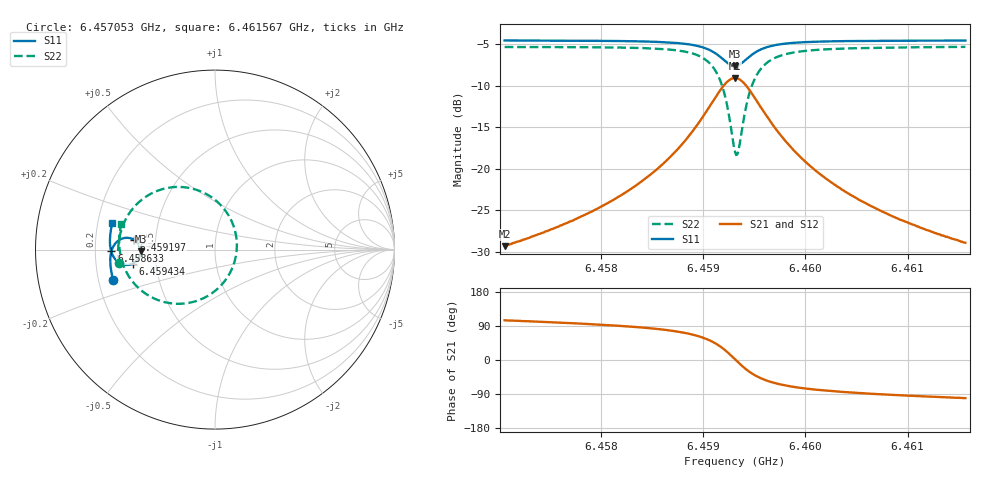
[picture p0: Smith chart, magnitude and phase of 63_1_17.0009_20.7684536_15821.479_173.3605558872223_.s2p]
#  HZ  S  RI  R  50.00
! Rohde & Schwarz Vector Network Analyzer
! Rohde-Schwarz,ZNB20-2Port,1311601062101988,3.16
! Created: UTC 3/20/2024, 10:54:53 PM
! freq[Hz]  re:S11  im:S11  re:S21  im:S21  re:S12  im:S12  re:S22  im:S22
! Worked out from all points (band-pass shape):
!   401 points, 6.457053 GHz to 6.461567 GHz, reference 50 ohm
!   highest |S21| = -9.08 dB at 6.45931 GHz (marker M1); lowest = -29.3 dB at 6.457053 GHz (marker M2)
!   |S21| within 3 dB of the highest: 6.459084 GHz to 6.459535 GHz (451.3 kHz wide, 0.00699 % of centre)
!   lowest |S11| = -7.6 dB at 6.45931 GHz (marker M3), VSWR 2.42, Z = 20.7 - j0.513 ohm
!   |S11| at or under -10 dB: nowhere
!   |S22| runs from -18.4 to -5.3 dB; largest |S21 - S12| = 0.014
!   S11 on the Smith chart (normalised r, x): 6.457053 GHz: 0.26, -0.14; 6.458633 GHz: 0.27, -0.01; 6.459197 GHz: 0.38, +0.05; 6.459434 GHz: 0.37, -0.07; 6.461567 GHz: 0.26, +0.12
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6.4570527e9  -0.5676 -0.1679  -0.00871 0.033  -0.00698 0.033  -0.5349 -0.0771
6.4578088e9  -0.581 -0.1012  -0.00516 0.0515  -0.00274 0.0508  -0.5389 0.0127
6.4582038e9  -0.5836 -0.0615  0.000428 0.0698  0.00359 0.0684  -0.5307 0.0755
6.4585649e9  -0.5793 -0.018  0.0153 0.1004  0.0192 0.0977  -0.5032 0.1578
6.4586327e9  -0.577 -0.00857  0.0206 0.109  0.0248 0.1056  -0.4928 0.1779
6.4588245e9  -0.5641 0.0219  0.048 0.1403  0.0519 0.1352  -0.4417 0.2473
6.4589712e9  -0.5409 0.0483  0.0943 0.1711  0.0975 0.1645  -0.3561 0.3117
6.4591067e9  -0.496 0.0656  0.1832 0.1873  0.1841 0.1799  -0.1936 0.349
6.4591969e9  -0.4506 0.0546  0.2746 0.1545  0.2748 0.1489  -0.0247 0.2955
6.4592647e9  -0.4211 0.0215  0.3355 0.0808  0.3378 0.0755  0.091 0.162
6.4593098e9  -0.4144 -0.0103  0.3514 0.0116  0.3552 0.00459  0.1218 0.0325
6.4593437e9  -0.4185 -0.0343  0.345 -0.0417  0.3491 -0.051  0.1088 -0.0684
6.4593888e9  -0.4346 -0.061  0.3154 -0.1021  0.3176 -0.1144  0.0486 -0.1825
6.4594339e9  -0.4571 -0.0775  0.2723 -0.1434  0.2715 -0.157  -0.0388 -0.2573
6.4595242e9  -0.5013 -0.0844  0.186 -0.1742  0.1797 -0.1859  -0.2104 -0.3021
6.4595919e9  -0.5259 -0.0772  0.1369 -0.172  0.1291 -0.181  -0.3047 -0.2859
6.4596709e9  -0.5457 -0.0639  0.0971 -0.1597  0.0885 -0.1659  -0.3795 -0.2505
6.4598289e9  -0.5677 -0.0363  0.0519 -0.131  0.044 -0.1338  -0.4602 -0.177
6.4600659e9  -0.5806 -0.00079  0.0224 -0.0988  0.0164 -0.0994  -0.5083 -0.0936
6.4604045e9  -0.5853 0.04  0.00626 -0.0716  0.00217 -0.0711  -0.5295 -0.014
6.4608221e9  -0.5836 0.0822  -0.00149 -0.0526  -0.00442 -0.0519  -0.5336 0.054
6.4615669e9  -0.5719 0.1485  -0.00658 -0.0352  -0.00829 -0.0342  -0.5222 0.143
